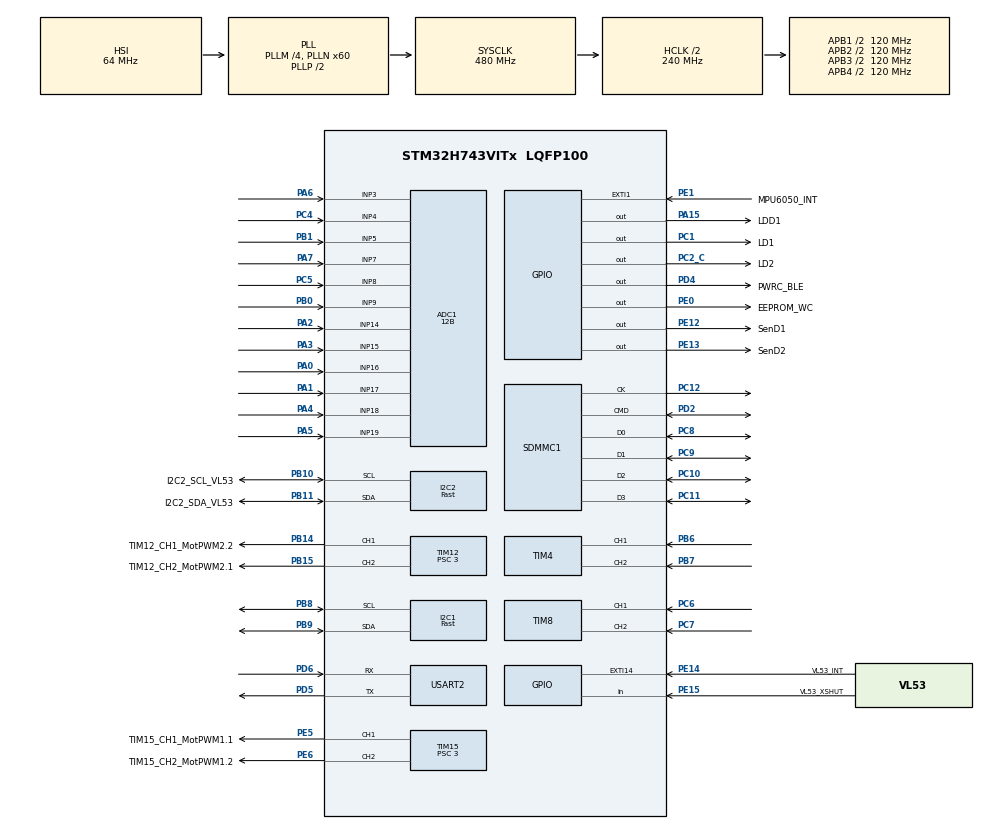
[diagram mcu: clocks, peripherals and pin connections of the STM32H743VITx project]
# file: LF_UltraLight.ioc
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ADC1.Channel-10\#ChannelRegularConversion=ADC_CHANNEL_14
ADC1.Channel-11\#ChannelRegularConversion=ADC_CHANNEL_15
ADC1.Channel-12\#ChannelRegularConversion=ADC_CHANNEL_18
ADC1.Channel-13\#ChannelRegularConversion=ADC_CHANNEL_19
ADC1.Channel-14\#ChannelRegularConversion=ADC_CHANNEL_3
ADC1.Channel-15\#ChannelRegularConversion=ADC_CHANNEL_7
ADC1.Channel-16\#ChannelRegularConversion=ADC_CHANNEL_4
ADC1.Channel-17\#ChannelRegularConversion=ADC_CHANNEL_8
ADC1.Channel-18\#ChannelRegularConversion=ADC_CHANNEL_9
ADC1.Channel-19\#ChannelRegularConversion=ADC_CHANNEL_5
ADC1.Channel-8\#ChannelRegularConversion=ADC_CHANNEL_16
ADC1.Channel-9\#ChannelRegularConversion=ADC_CHANNEL_17
ADC1.ClockPrescaler=ADC_CLOCK_ASYNC_DIV6
ADC1.ContinuousConvMode=ENABLE
ADC1.ConversionDataManagement=ADC_CONVERSIONDATA_DMA_CIRCULAR
ADC1.EnableInjectedConversion=ENABLE
ADC1.NbrOfConversion=12
ADC1.NbrOfConversionFlag=1
ADC1.OffsetNumber-10\#ChannelRegularConversion=ADC_OFFSET_NONE
ADC1.OffsetNumber-11\#ChannelRegularConversion=ADC_OFFSET_NONE
ADC1.OffsetNumber-12\#ChannelRegularConversion=ADC_OFFSET_NONE
ADC1.OffsetNumber-13\#ChannelRegularConversion=ADC_OFFSET_NONE
ADC1.OffsetNumber-14\#ChannelRegularConversion=ADC_OFFSET_NONE
ADC1.OffsetNumber-15\#ChannelRegularConversion=ADC_OFFSET_NONE
ADC1.OffsetNumber-16\#ChannelRegularConversion=ADC_OFFSET_NONE
ADC1.OffsetNumber-17\#ChannelRegularConversion=ADC_OFFSET_NONE
ADC1.OffsetNumber-18\#ChannelRegularConversion=ADC_OFFSET_NONE
ADC1.OffsetNumber-19\#ChannelRegularConversion=ADC_OFFSET_NONE
ADC1.OffsetNumber-8\#ChannelRegularConversion=ADC_OFFSET_NONE
ADC1.OffsetNumber-9\#ChannelRegularConversion=ADC_OFFSET_NONE
ADC1.Overrun=ADC_OVR_DATA_OVERWRITTEN
ADC1.OversamplingMode=DISABLE
ADC1.Rank-10\#ChannelRegularConversion=3
ADC1.Rank-11\#ChannelRegularConversion=4
ADC1.Rank-12\#ChannelRegularConversion=5
ADC1.Rank-13\#ChannelRegularConversion=6
ADC1.Rank-14\#ChannelRegularConversion=7
ADC1.Rank-15\#ChannelRegularConversion=8
ADC1.Rank-16\#ChannelRegularConversion=9
ADC1.Rank-17\#ChannelRegularConversion=10
ADC1.Rank-18\#ChannelRegularConversion=11
ADC1.Rank-19\#ChannelRegularConversion=12
ADC1.Rank-8\#ChannelRegularConversion=1
ADC1.Rank-9\#ChannelRegularConversion=2
ADC1.Resolution=ADC_RESOLUTION_12B
ADC1.SamplingTime-10\#ChannelRegularConversion=ADC_SAMPLETIME_16CYCLES_5
ADC1.SamplingTime-11\#ChannelRegularConversion=ADC_SAMPLETIME_16CYCLES_5
ADC1.SamplingTime-12\#ChannelRegularConversion=ADC_SAMPLETIME_16CYCLES_5
ADC1.SamplingTime-13\#ChannelRegularConversion=ADC_SAMPLETIME_16CYCLES_5
ADC1.SamplingTime-14\#ChannelRegularConversion=ADC_SAMPLETIME_16CYCLES_5
ADC1.SamplingTime-15\#ChannelRegularConversion=ADC_SAMPLETIME_16CYCLES_5
ADC1.SamplingTime-16\#ChannelRegularConversion=ADC_SAMPLETIME_16CYCLES_5
ADC1.SamplingTime-17\#ChannelRegularConversion=ADC_SAMPLETIME_16CYCLES_5
ADC1.SamplingTime-18\#ChannelRegularConversion=ADC_SAMPLETIME_16CYCLES_5
ADC1.SamplingTime-19\#ChannelRegularConversion=ADC_SAMPLETIME_16CYCLES_5
ADC1.SamplingTime-8\#ChannelRegularConversion=ADC_SAMPLETIME_16CYCLES_5
ADC1.SamplingTime-9\#ChannelRegularConversion=ADC_SAMPLETIME_16CYCLES_5
ADC1.master=1
CORTEX_M7.CPU_ICache=Disabled
Dma.ADC1.0.Direction=DMA_PERIPH_TO_MEMORY
Dma.ADC1.0.EventEnable=DISABLE
Dma.ADC1.0.FIFOMode=DMA_FIFOMODE_DISABLE
Dma.ADC1.0.Instance=DMA1_Stream0
Dma.ADC1.0.MemDataAlignment=DMA_MDATAALIGN_HALFWORD
Dma.ADC1.0.MemInc=DMA_MINC_ENABLE
Dma.ADC1.0.Mode=DMA_CIRCULAR
Dma.ADC1.0.PeriphDataAlignment=DMA_PDATAALIGN_HALFWORD
Dma.ADC1.0.PeriphInc=DMA_PINC_DISABLE
Dma.ADC1.0.Polarity=HAL_DMAMUX_REQ_GEN_RISING
Dma.ADC1.0.Priority=DMA_PRIORITY_LOW
Dma.ADC1.0.RequestNumber=1
Dma.ADC1.0.SignalID=NONE
Dma.ADC1.0.SyncEnable=DISABLE
Dma.ADC1.0.SyncPolarity=HAL_DMAMUX_SYNC_NO_EVENT
Dma.ADC1.0.SyncRequestNumber=1
Dma.ADC1.0.SyncSignalID=NONE
Dma.Request0=ADC1
Dma.Request1=USART2_RX
Dma.Request2=USART2_TX
Dma.USART2_RX.1.Direction=DMA_PERIPH_TO_MEMORY
Dma.USART2_RX.1.EventEnable=DISABLE
Dma.USART2_RX.1.FIFOMode=DMA_FIFOMODE_DISABLE
Dma.USART2_RX.1.Instance=DMA1_Stream1
Dma.USART2_RX.1.MemDataAlignment=DMA_MDATAALIGN_BYTE
Dma.USART2_RX.1.MemInc=DMA_MINC_ENABLE
Dma.USART2_RX.1.Mode=DMA_NORMAL
Dma.USART2_RX.1.PeriphDataAlignment=DMA_PDATAALIGN_BYTE
Dma.USART2_RX.1.PeriphInc=DMA_PINC_DISABLE
Dma.USART2_RX.1.Polarity=HAL_DMAMUX_REQ_GEN_RISING
Dma.USART2_RX.1.Priority=DMA_PRIORITY_LOW
Dma.USART2_RX.1.RequestNumber=1
Dma.USART2_RX.1.SignalID=NONE
Dma.USART2_RX.1.SyncEnable=DISABLE
Dma.USART2_RX.1.SyncPolarity=HAL_DMAMUX_SYNC_NO_EVENT
Dma.USART2_RX.1.SyncRequestNumber=1
Dma.USART2_RX.1.SyncSignalID=NONE
Dma.USART2_TX.2.Direction=DMA_MEMORY_TO_PERIPH
Dma.USART2_TX.2.EventEnable=DISABLE
Dma.USART2_TX.2.FIFOMode=DMA_FIFOMODE_DISABLE
Dma.USART2_TX.2.Instance=DMA1_Stream2
Dma.USART2_TX.2.MemDataAlignment=DMA_MDATAALIGN_BYTE
Dma.USART2_TX.2.MemInc=DMA_MINC_ENABLE
Dma.USART2_TX.2.Mode=DMA_NORMAL
Dma.USART2_TX.2.PeriphDataAlignment=DMA_PDATAALIGN_BYTE
Dma.USART2_TX.2.PeriphInc=DMA_PINC_DISABLE
Dma.USART2_TX.2.Polarity=HAL_DMAMUX_REQ_GEN_RISING
Dma.USART2_TX.2.Priority=DMA_PRIORITY_LOW
Dma.USART2_TX.2.RequestNumber=1
Dma.USART2_TX.2.SignalID=NONE
Dma.USART2_TX.2.SyncEnable=DISABLE
Dma.USART2_TX.2.SyncPolarity=HAL_DMAMUX_SYNC_NO_EVENT
Dma.USART2_TX.2.SyncRequestNumber=1
Dma.USART2_TX.2.SyncSignalID=NONE
I2C1.I2C_Speed_Mode=I2C_Fast
I2C1.Timing=0x00B03FDB
I2C2.I2C_Speed_Mode=I2C_Fast
I2C2.Timing=0x00B03FDB
Mcu.Family=STM32H7
Mcu.Name=STM32H743VITx
Mcu.Package=LQFP100
NVIC.DMA1_Stream0_IRQn=true\:0\:0\:false\:false\:true\:false\:true
NVIC.DMA1_Stream1_IRQn=true\:0\:0\:false\:false\:true\:false\:true
NVIC.DMA1_Stream2_IRQn=true\:0\:0\:false\:false\:true\:false\:true
NVIC.I2C1_ER_IRQn=true\:0\:0\:false\:false\:true\:true\:true
NVIC.I2C1_EV_IRQn=true\:0\:0\:false\:false\:true\:true\:true
NVIC.I2C2_ER_IRQn=true\:0\:0\:false\:false\:true\:true\:true
NVIC.I2C2_EV_IRQn=true\:0\:0\:false\:false\:true\:true\:true
NVIC.PriorityGroup=NVIC_PRIORITYGROUP_4
NVIC.TIM2_IRQn=true\:13\:0\:true\:false\:true\:true\:true
NVIC.TIM5_IRQn=true\:15\:0\:true\:false\:true\:true\:true
NVIC.USART2_IRQn=true\:0\:0\:false\:false\:true\:true\:true
PA0.Mode=IN16-Single-Ended
PA0.Signal=ADC1_INP16
PA1.Mode=IN17-Single-Ended
PA1.Signal=ADC1_INP17
PA13\ (JTMS/SWDIO).Mode=Trace_Asynchronous_SW
PA13\ (JTMS/SWDIO).Signal=DEBUG_JTMS-SWDIO
PA14\ (JTCK/SWCLK).Mode=Trace_Asynchronous_SW
PA14\ (JTCK/SWCLK).Signal=DEBUG_JTCK-SWCLK
PA15\ (JTDI).GPIO_Label=LDD1
PA15\ (JTDI).GPIO_ModeDefaultOutputPP=GPIO_MODE_OUTPUT_OD
PA15\ (JTDI).PinState=GPIO_PIN_SET
PA15\ (JTDI).Signal=GPIO_Output
PA2.Signal=ADCx_INP14
PA3.Signal=ADCx_INP15
PA4.Signal=ADCx_INP18
PA5.Signal=ADCx_INP19
PA6.Signal=ADCx_INP3
PA7.Signal=ADCx_INP7
PB0.Signal=ADCx_INP9
PB1.Signal=ADCx_INP5
PB10.GPIO_Label=I2C2_SCL_VL53
PB10.Mode=I2C
PB10.Signal=I2C2_SCL
PB11.GPIO_Label=I2C2_SDA_VL53
PB11.Mode=I2C
PB11.Signal=I2C2_SDA
PB14.GPIO_Label=TIM12_CH1_MotPWM2.2
PB14.Signal=S_TIM12_CH1
PB15.GPIO_Label=TIM12_CH2_MotPWM2.1
PB15.Signal=S_TIM12_CH2
PB3\ (JTDO/TRACESWO).Mode=Trace_Asynchronous_SW
PB3\ (JTDO/TRACESWO).Signal=DEBUG_JTDO-SWO
PB6.Signal=S_TIM4_CH1
PB7.Signal=S_TIM4_CH2
PB8.GPIO_Pu=GPIO_PULLUP
PB8.Mode=I2C
PB8.Signal=I2C1_SCL
PB9.GPIO_Pu=GPIO_PULLUP
PB9.Mode=I2C
PB9.Signal=I2C1_SDA
PC1.GPIO_Label=LD1
PC1.Signal=GPIO_Output
PC10.Mode=SD_4_bits_Wide_bus
PC10.Signal=SDMMC1_D2
PC11.Mode=SD_4_bits_Wide_bus
PC11.Signal=SDMMC1_D3
PC12.Mode=SD_4_bits_Wide_bus
PC12.Signal=SDMMC1_CK
PC2_C.GPIO_Label=LD2
PC2_C.Signal=GPIO_Output
PC4.Signal=ADCx_INP4
PC5.Signal=ADCx_INP8
PC6.Signal=S_TIM8_CH1
PC7.Signal=S_TIM8_CH2
PC8.Mode=SD_4_bits_Wide_bus
PC8.Signal=SDMMC1_D0
PC9.Mode=SD_4_bits_Wide_bus
PC9.Signal=SDMMC1_D1
PD2.Mode=SD_4_bits_Wide_bus
PD2.Signal=SDMMC1_CMD
PD4.GPIO_Label=PWRC_BLE
PD4.Signal=GPIO_Output
PD5.Mode=Asynchronous
PD5.Signal=USART2_TX
PD6.Mode=Asynchronous
PD6.Signal=USART2_RX
PE0.GPIO_Label=EEPROM_WC
PE0.PinState=GPIO_PIN_SET
PE0.Signal=GPIO_Output
PE1.GPIO_Label=MPU6050_INT
PE1.Signal=GPXTI1
PE12.GPIO_Label=SenD1
PE12.GPIO_ModeDefaultOutputPP=GPIO_MODE_OUTPUT_OD
PE12.PinState=GPIO_PIN_SET
PE12.Signal=GPIO_Output
PE13.GPIO_Label=SenD2
PE13.GPIO_ModeDefaultOutputPP=GPIO_MODE_OUTPUT_OD
PE13.PinState=GPIO_PIN_SET
PE13.Signal=GPIO_Output
PE14.GPIO_Label=VL53_INT
PE14.Signal=GPXTI14
PE15.GPIO_Label=VL53_XSHUT
PE15.Signal=GPIO_Input
PE5.GPIO_Label=TIM15_CH1_MotPWM1.1
PE5.Signal=S_TIM15_CH1
PE6.GPIO_Label=TIM15_CH2_MotPWM1.2
PE6.Signal=S_TIM15_CH2
ProjectManager.HeapSize=0x200
ProjectManager.StackSize=0x400
ProjectManager.TargetToolchain=STM32CubeIDE
RCC.ADCCLockSelection=RCC_ADCCLKSOURCE_CLKP
RCC.ADCFreq_Value=64000000
RCC.APB1Freq_Value=120000000
RCC.APB2Freq_Value=120000000
RCC.APB3Freq_Value=120000000
RCC.APB4Freq_Value=120000000
RCC.CortexFreq_Value=480000000
RCC.D1PPRE=RCC_APB3_DIV2
RCC.D2PPRE1=RCC_APB1_DIV2
RCC.D2PPRE2=RCC_APB2_DIV2
RCC.D3PPRE=RCC_APB4_DIV2
RCC.DIVM1=4
RCC.DIVM2=2
RCC.DIVN1=60
RCC.DIVN2=120
RCC.DIVP2=8
RCC.DIVQ1=8
RCC.DIVQ2=8
RCC.DIVR2=8
RCC.HCLKFreq_Value=240000000
RCC.HPRE=RCC_HCLK_DIV2
RCC.HSE_VALUE=16000000
RCC.SYSCLKFreq_VALUE=480000000
RCC.SYSCLKSource=RCC_SYSCLKSOURCE_PLLCLK
RCC.USBFreq_Value=120000000
SH.ADCx_INP14.0=ADC1_INP14,IN14-Single-Ended
SH.ADCx_INP15.0=ADC1_INP15,IN15-Single-Ended
SH.ADCx_INP18.0=ADC1_INP18,IN18-Single-Ended
SH.ADCx_INP19.0=ADC1_INP19,IN19-Single-Ended
SH.ADCx_INP3.0=ADC1_INP3,IN3-Single-Ended
SH.ADCx_INP4.0=ADC1_INP4,IN4-Single-Ended
SH.ADCx_INP5.0=ADC1_INP5,IN5-Single-Ended
SH.ADCx_INP7.0=ADC1_INP7,IN7-Single-Ended
SH.ADCx_INP8.0=ADC1_INP8,IN8-Single-Ended
SH.ADCx_INP9.0=ADC1_INP9,IN9-Single-Ended
SH.S_TIM12_CH1.0=TIM12_CH1,PWM Generation1 CH1
SH.S_TIM12_CH2.0=TIM12_CH2,PWM Generation2 CH2
SH.S_TIM15_CH1.0=TIM15_CH1,PWM Generation1 CH1
SH.S_TIM15_CH2.0=TIM15_CH2,PWM Generation2 CH2
SH.S_TIM4_CH1.0=TIM4_CH1,Encoder_Interface
SH.S_TIM4_CH2.0=TIM4_CH2,Encoder_Interface
SH.S_TIM8_CH1.0=TIM8_CH1,Encoder_Interface
SH.S_TIM8_CH2.0=TIM8_CH2,Encoder_Interface
TIM12.Channel-PWM\ Generation1\ CH1=TIM_CHANNEL_1
TIM12.Channel-PWM\ Generation2\ CH2=TIM_CHANNEL_2
TIM12.Period=1000
TIM12.Prescaler=3
TIM15.Channel-PWM\ Generation1\ CH1=TIM_CHANNEL_1
TIM15.Channel-PWM\ Generation2\ CH2=TIM_CHANNEL_2
TIM15.Period=1000
TIM15.Prescaler=3
TIM2.Period=101
TIM2.Prescaler=239
TIM4.EncoderMode=TIM_ENCODERMODE_TI12
TIM4.IC1Filter=10
TIM4.IC2Filter=10
TIM5.Period=10000
TIM5.Prescaler=240
TIM8.AutoReloadPreload=TIM_AUTORELOAD_PRELOAD_ENABLE
TIM8.EncoderMode=TIM_ENCODERMODE_TI12
TIM8.IC1Filter=10
TIM8.IC2Filter=10
USART2.VirtualMode-Asynchronous=VM_ASYNC
VP_TIM12_VS_ClockSourceINT.Mode=Internal
VP_TIM15_VS_ClockSourceINT.Mode=Internal
VP_TIM2_VS_ClockSourceINT.Mode=Internal
VP_TIM5_VS_ClockSourceINT.Mode=Internal
board=custom

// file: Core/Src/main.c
/* USER CODE BEGIN Header */
/**
  ******************************************************************************
  * @file           : main.c
  * @brief          : Main program body
  ******************************************************************************
  * @attention
  *
  * <h2><center>&copy; Copyright (c) 2020 STMicroelectronics.
  * All rights reserved.</center></h2>
  *
  * This software component is licensed by ST under BSD 3-Clause license,
  * the "License"; You may not use this file except in compliance with the
  * License. You may obtain a copy of the License at:
  *                        opensource.org/licenses/BSD-3-Clause
  *
  ******************************************************************************
  */
/* USER CODE END Header */
#include "main.h"
#include "adc.h"
#include "dma.h"
#include "fatfs.h"
#include "i2c.h"
#include "sdmmc.h"
#include "tim.h"
#include "usart.h"
#include "gpio.h"

/* USER CODE BEGIN Includes */
#include "HM10_BleModule.h"
#include "LF_AppMain.h"
#include "Encoders_Module.h"

#include <stdio.h>

#include "ranging_vl53l0x.h"
#include "vl53l0x_api.h"

/* USER CODE END Includes */

/* USER CODE BEGIN PV */
//FRESULT FatFsResult;
//FATFS SdFatFs;
//FIL SdCardFile;
//
//uint8_t bytes;
//char data[128];

/* USER CODE END PV */

void SystemClock_Config(void);
void PeriphCommonClock_Config(void);

/* USER CODE BEGIN 0 */

void HAL_UARTEx_RxEventCallback(UART_HandleTypeDef *huart, uint16_t Size)
{
	// Check if UART2 trigger the Callback
	if(huart->Instance == USART2)
	{
		// Start listening again
		HAL_UARTEx_ReceiveToIdle_DMA(&huart2, HM10BLE_App.ReceiveBuffer, ReceiveBufferSize);
		HM10BLE_RxEventCallback(Size); //Application/Src/HM10_BleModule.c
	}
}

void HAL_UART_TxCpltCallback(UART_HandleTypeDef *huart)
{
	// Check if UART2 triggered the Callback
	if(huart->Instance == USART2)
	{
		HM10BLE_TxCmpltEventCallback(); //Application/Src/HM10_BleModule.c
	}
}

/* USER CODE END 0 */

int main(void)
{

  /* MCU Configuration--------------------------------------------------------*/

  /* Reset of all peripherals, Initializes the Flash interface and the Systick. */
  HAL_Init();

  /* Configure the system clock */
  SystemClock_Config();

/* Configure the peripherals common clocks */
  PeriphCommonClock_Config();

  /* Initialize all configured peripherals */
  MX_GPIO_Init();
  MX_DMA_Init();
  MX_SDMMC1_SD_Init();
  MX_ADC1_Init();
  MX_TIM15_Init();
  MX_USART2_UART_Init();
  MX_TIM2_Init();
  MX_I2C1_Init();
  MX_TIM5_Init();
  MX_I2C2_Init();
  MX_TIM12_Init();
  MX_TIM8_Init();
  MX_TIM4_Init();
  MX_FATFS_Init();
  /* USER CODE BEGIN 2 */
  //Activate 100usTimer
  LL_TIM_EnableIT_CC1(TIM2);
  LL_TIM_EnableCounter(TIM2);

/* MPU-6050 Detected at 0x69 */

  LF_App_MainConfig(); //Application/Src/LF_AppMain

//  static VL53L0X_Dev_t device;
//
//  static volatile uint16_t res = 0;
//
//  device.I2cHandle=&hi2c2;
//  device.I2cDevAddr=0x52;
//  device.Present=0;
//  device.Id=0;
//
//  initSensor( &device );

//  static uint8_t data_ready;
//  static VL53L0X_RangingMeasurementData_t result;
//  static VL53L0X_Error Status;

static uint32_t SavedTimeLocalTest =0 ;

//
  // FatFS mount init
  //
//  FatFsResult = f_mount(&SdFatFs, "", 1);
//
//  //
//  // FatFS mount init error check
//  //
//  if(FatFsResult != FR_OK)
//  {
//  	  bytes = sprintf(data, "FatFS mount error.\n\r");
//  	  HAL_UART_Transmit(&huart2, (uint8_t*)data, bytes, 1000);
//  }
//  else
//  {
//  	  bytes = sprintf(data, "FatFS mounted.\n\r");
//  	  HAL_UART_Transmit(&huart2, (uint8_t*)data, bytes, 1000);
//
//  	  //
//  	  // Open file on SD for writing
//  	  //
//  	  FatFsResult = f_open(&SdCardFile, "test.txt", FA_WRITE|FA_CREATE_ALWAYS);
//
//  	  //
//  	  // File open error check
//  	  //
//  	  if(FatFsResult != FR_OK)
//  	  {
//  		  bytes = sprintf(data, "No test.txt file. Can't create.\n\r");
//  		  HAL_UART_Transmit(&huart2, (uint8_t*)data, bytes, 1000);
//  	  }
//  	  else
//  	  {
//  		  bytes = sprintf(data, "File opened.\n\r");
//  		  HAL_UART_Transmit(&huart2, (uint8_t*)data, bytes, 1000);
//
//  		  //
//		  //	Print something to this file
//		  //
//		  for(uint8_t i = 0; i < 10; i++)
//		  {
//			  f_printf(&SdCardFile, "Line number %d.\n", i);
//		  }
//
//		  //
//		  // Close file
//		  //
//		  FatFsResult = f_close(&SdCardFile);
//
//		  bytes = sprintf(data, "File closed.\n\r");
//		  HAL_UART_Transmit(&huart2, (uint8_t*)data, bytes, 1000);
//
//
//	  	  //
//	  	  // Open file on SD for writing
//	  	  //
//	  	  FatFsResult = f_open(&SdCardFile, "test.txt", FA_READ);
//
//	  	  //
//	  	  // File open error check
//	  	  //
//	  	  if(FatFsResult != FR_OK)
//	  	  {
//	  		  bytes = sprintf(data, "No test.txt file. Can't open. \n\r");
//	  		  HAL_UART_Transmit(&huart2, (uint8_t*)data, bytes, 1000);
//	  	  }
//	  	  else
//	  	  {
//	  		  UINT len;
//	  		  do
//	  		  {
//	  			  len = 0;
//		  		  f_read(&SdCardFile, data, 10, &len);
//		  		  HAL_UART_Transmit(&huart2, (uint8_t*)data, len, 1000);
//	  		  }while(len > 0);
//
//			  //
//			  // Close file
//			  //
//			  FatFsResult = f_close(&SdCardFile);
//	  	  }
//  	  }
//  }

  /* USER CODE END 2 */

  /* Infinite loop */
  /* USER CODE BEGIN WHILE */
  while (1)
  {
	  if(SavedTimeLocalTest + 1000 < HAL_GetTick() )
		  {
			  SavedTimeLocalTest = HAL_GetTick() ;

//		        Status=VL53L0X_GetMeasurementDataReady(&device, &data_ready);
//
//		        if( Status == VL53L0X_ERROR_NONE )
//		        {
//		            Status = VL53L0X_GetRangingMeasurementData(&device, &result);
//
//		            HAL_UART_Transmit(&huart2, "SFFS", 20, 100); result.RangeMilliMeter;
//
//		            if (Status == VL53L0X_ERROR_NONE)
//		            {
//		                Status = VL53L0X_ClearInterruptMask(&device,0);
//		            }
//		        }
		  }

	  LF_App_MainTask(); //Application/Src/LF_AppMain
    /* USER CODE END WHILE */

  }
}

void SystemClock_Config(void)
{
  RCC_OscInitTypeDef RCC_OscInitStruct = {0};
  RCC_ClkInitTypeDef RCC_ClkInitStruct = {0};

  /** Supply configuration update enable
  */
  HAL_PWREx_ConfigSupply(PWR_LDO_SUPPLY);
  /** Configure the main internal regulator output voltage
  */
  __HAL_PWR_VOLTAGESCALING_CONFIG(PWR_REGULATOR_VOLTAGE_SCALE0);

  while(!__HAL_PWR_GET_FLAG(PWR_FLAG_VOSRDY)) {}
  /** Initializes the RCC Oscillators according to the specified parameters
  * in the RCC_OscInitTypeDef structure.
  */
  RCC_OscInitStruct.OscillatorType = RCC_OSCILLATORTYPE_HSI;
  RCC_OscInitStruct.HSIState = RCC_HSI_DIV1;
  RCC_OscInitStruct.HSICalibrationValue = RCC_HSICALIBRATION_DEFAULT;
  RCC_OscInitStruct.PLL.PLLState = RCC_PLL_ON;
  RCC_OscInitStruct.PLL.PLLSource = RCC_PLLSOURCE_HSI;
  RCC_OscInitStruct.PLL.PLLM = 4;
  RCC_OscInitStruct.PLL.PLLN = 60;
  RCC_OscInitStruct.PLL.PLLP = 2;
  RCC_OscInitStruct.PLL.PLLQ = 16;
  RCC_OscInitStruct.PLL.PLLR = 2;
  RCC_OscInitStruct.PLL.PLLRGE = RCC_PLL1VCIRANGE_3;
  RCC_OscInitStruct.PLL.PLLVCOSEL = RCC_PLL1VCOWIDE;
  RCC_OscInitStruct.PLL.PLLFRACN = 0;
  if (HAL_RCC_OscConfig(&RCC_OscInitStruct) != HAL_OK)
  {
    Error_Handler();
  }
  /** Initializes the CPU, AHB and APB buses clocks
  */
  RCC_ClkInitStruct.ClockType = RCC_CLOCKTYPE_HCLK|RCC_CLOCKTYPE_SYSCLK
                              |RCC_CLOCKTYPE_PCLK1|RCC_CLOCKTYPE_PCLK2
                              |RCC_CLOCKTYPE_D3PCLK1|RCC_CLOCKTYPE_D1PCLK1;
  RCC_ClkInitStruct.SYSCLKSource = RCC_SYSCLKSOURCE_PLLCLK;
  RCC_ClkInitStruct.SYSCLKDivider = RCC_SYSCLK_DIV1;
  RCC_ClkInitStruct.AHBCLKDivider = RCC_HCLK_DIV2;
  RCC_ClkInitStruct.APB3CLKDivider = RCC_APB3_DIV2;
  RCC_ClkInitStruct.APB1CLKDivider = RCC_APB1_DIV2;
  RCC_ClkInitStruct.APB2CLKDivider = RCC_APB2_DIV2;
  RCC_ClkInitStruct.APB4CLKDivider = RCC_APB4_DIV2;

  if (HAL_RCC_ClockConfig(&RCC_ClkInitStruct, FLASH_LATENCY_4) != HAL_OK)
  {
    Error_Handler();
  }
}

void PeriphCommonClock_Config(void)
{
  RCC_PeriphCLKInitTypeDef PeriphClkInitStruct = {0};

  /** Initializes the peripherals clock
  */
  PeriphClkInitStruct.PeriphClockSelection = RCC_PERIPHCLK_CKPER;
  PeriphClkInitStruct.CkperClockSelection = RCC_CLKPSOURCE_HSI;
  if (HAL_RCCEx_PeriphCLKConfig(&PeriphClkInitStruct) != HAL_OK)
  {
    Error_Handler();
  }
}

/* USER CODE BEGIN 4 */
static VL53L0X_Error initSensor( VL53L0X_Dev_t * device )
{
    VL53L0X_Error Status=VL53L0X_ERROR_NONE;

    static uint32_t refSpadCount     = 0;
    static uint8_t  isApertureSpads  = 0;
    static uint8_t  VhvSettings      = 0;
    static uint8_t  PhaseCal         = 0;

    if (Status == VL53L0X_ERROR_NONE)
    {
        Status=VL53L0X_SetDeviceAddress( device, 0x51 );
        device->I2cDevAddr=0x51;
    }

    if (Status == VL53L0X_ERROR_NONE)
    {
        Status=VL53L0X_DataInit( device );
    }

    if (Status == VL53L0X_ERROR_NONE)
    {
        Status=VL53L0X_StaticInit( device );
    }

    if (Status == VL53L0X_ERROR_NONE)
    {
        Status = VL53L0X_PerformRefSpadManagement( device, &refSpadCount, &isApertureSpads);
    }

    if (Status == VL53L0X_ERROR_NONE)
    {
        Status = VL53L0X_PerformRefCalibration( device, &VhvSettings, &PhaseCal);
    }

    if (Status == VL53L0X_ERROR_NONE)
    {
        Status=VL53L0X_SetReferenceSpads( device, refSpadCount, isApertureSpads);
    }

    if (Status == VL53L0X_ERROR_NONE)
    {
        Status=VL53L0X_SetRefCalibration( device, VhvSettings, PhaseCal);
    }

    if (Status == VL53L0X_ERROR_NONE)
    {
        Status=VL53L0X_SetDeviceMode( device, VL53L0X_DEVICEMODE_CONTINUOUS_RANGING);
    }

    if (Status == VL53L0X_ERROR_NONE)
    {
        Status = VL53L0X_SetLimitCheckValue( device, VL53L0X_CHECKENABLE_SIGNAL_RATE_FINAL_RANGE, (FixPoint1616_t)(0.25*65536) );
    }

    if (Status == VL53L0X_ERROR_NONE)
    {
        Status = VL53L0X_SetLimitCheckValue( device, VL53L0X_CHECKENABLE_SIGMA_FINAL_RANGE, (FixPoint1616_t)(32*65536) );
    }

    if (Status == VL53L0X_ERROR_NONE)
    {
        Status =VL53L0X_SetMeasurementTimingBudgetMicroSeconds( device,	20000 );
    }

    if (Status == VL53L0X_ERROR_NONE)
    {
        Status=VL53L0X_StartMeasurement( device );
    }

    return Status;
}
/* USER CODE END 4 */

void Error_Handler(void)
{
}

/************************ (C) COPYRIGHT STMicroelectronics *****END OF FILE****/
